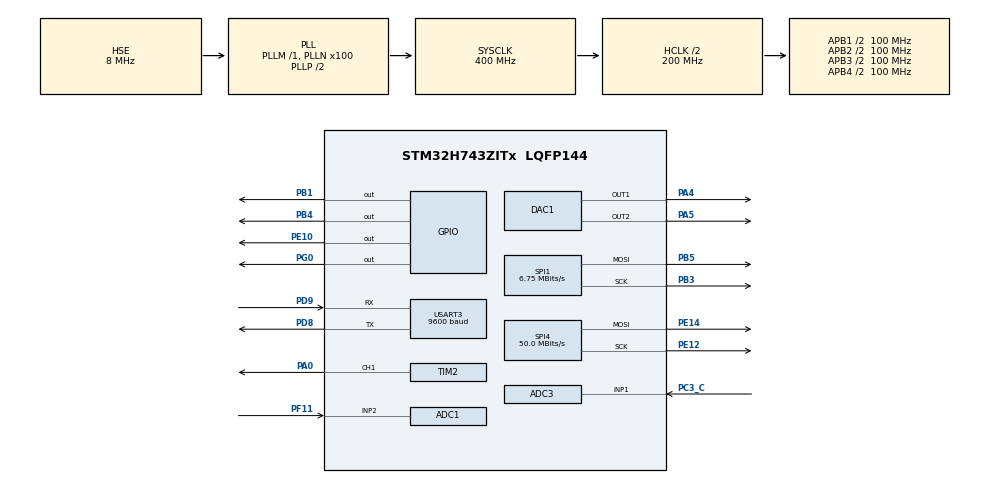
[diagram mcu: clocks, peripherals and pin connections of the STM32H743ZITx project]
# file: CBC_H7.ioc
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ADC1.BoostMode=DISABLE
ADC1.Channel-0\#ChannelRegularConversion=ADC_CHANNEL_2
ADC1.ClockPrescaler=ADC_CLOCK_ASYNC_DIV1
ADC1.ContinuousConvMode=ENABLE
ADC1.ConversionDataManagement=ADC_CONVERSIONDATA_DMA_CIRCULAR
ADC1.DiscontinuousConvMode=DISABLE
ADC1.EOCSelection=ADC_EOC_SINGLE_CONV
ADC1.EnableAnalogWatchDog1=false
ADC1.EnableAnalogWatchDog2=false
ADC1.EnableAnalogWatchDog3=false
ADC1.EnableInjectedConversion=DISABLE
ADC1.EnableRegularConversion=ENABLE
ADC1.ExternalTrigConv=ADC_SOFTWARE_START
ADC1.ExternalTrigConvEdge=ADC_EXTERNALTRIGCONVEDGE_NONE
ADC1.LeftBitShift=ADC_LEFTBITSHIFT_NONE
ADC1.LowPowerAutoWait=DISABLE
ADC1.NbrOfConversion=1
ADC1.NbrOfConversionFlag=1
ADC1.OffsetNumber-0\#ChannelRegularConversion=ADC_OFFSET_NONE
ADC1.Overrun=ADC_OVR_DATA_PRESERVED
ADC1.OversamplingMode=DISABLE
ADC1.Rank-0\#ChannelRegularConversion=1
ADC1.Resolution=ADC_RESOLUTION_16B
ADC1.SamplingTime-0\#ChannelRegularConversion=ADC_SAMPLETIME_1CYCLE_5
ADC1.ScanConvMode=ADC_SCAN_DISABLE
ADC1.master=1
ADC3.Channel-3\#ChannelRegularConversion=ADC_CHANNEL_1
ADC3.NbrOfConversionFlag=1
ADC3.OffsetNumber-3\#ChannelRegularConversion=ADC_OFFSET_NONE
ADC3.Rank-3\#ChannelRegularConversion=1
ADC3.SamplingTime-3\#ChannelRegularConversion=ADC_SAMPLETIME_1CYCLE_5
CORTEX_M7.CPU_DCache=Disabled
DAC1.DAC_Channel-DAC_OUT1=DAC_CHANNEL_1
DAC1.DAC_Channel-DAC_OUT2=DAC_CHANNEL_2
DAC1.DAC_Trigger-DAC_OUT1=DAC_TRIGGER_T2_TRGO
DAC1.DAC_Trigger-DAC_OUT2=DAC_TRIGGER_T2_TRGO
Dma.ADC1.0.Direction=DMA_PERIPH_TO_MEMORY
Dma.ADC1.0.EventEnable=DISABLE
Dma.ADC1.0.FIFOMode=DMA_FIFOMODE_DISABLE
Dma.ADC1.0.Instance=DMA1_Stream0
Dma.ADC1.0.MemDataAlignment=DMA_MDATAALIGN_WORD
Dma.ADC1.0.MemInc=DMA_MINC_ENABLE
Dma.ADC1.0.Mode=DMA_CIRCULAR
Dma.ADC1.0.PeriphDataAlignment=DMA_PDATAALIGN_WORD
Dma.ADC1.0.PeriphInc=DMA_PINC_DISABLE
Dma.ADC1.0.Polarity=HAL_DMAMUX_REQ_GEN_RISING
Dma.ADC1.0.Priority=DMA_PRIORITY_VERY_HIGH
Dma.ADC1.0.RequestNumber=1
Dma.ADC1.0.SignalID=NONE
Dma.ADC1.0.SyncEnable=DISABLE
Dma.ADC1.0.SyncPolarity=HAL_DMAMUX_SYNC_NO_EVENT
Dma.ADC1.0.SyncRequestNumber=1
Dma.ADC1.0.SyncSignalID=NONE
Dma.Request0=ADC1
Dma.Request1=USART3_RX
Dma.Request2=USART3_TX
Dma.USART3_RX.1.Direction=DMA_PERIPH_TO_MEMORY
Dma.USART3_RX.1.EventEnable=DISABLE
Dma.USART3_RX.1.FIFOMode=DMA_FIFOMODE_DISABLE
Dma.USART3_RX.1.Instance=DMA1_Stream1
Dma.USART3_RX.1.MemDataAlignment=DMA_MDATAALIGN_BYTE
Dma.USART3_RX.1.MemInc=DMA_MINC_ENABLE
Dma.USART3_RX.1.Mode=DMA_CIRCULAR
Dma.USART3_RX.1.PeriphDataAlignment=DMA_PDATAALIGN_BYTE
Dma.USART3_RX.1.PeriphInc=DMA_PINC_DISABLE
Dma.USART3_RX.1.Polarity=HAL_DMAMUX_REQ_GEN_RISING
Dma.USART3_RX.1.Priority=DMA_PRIORITY_LOW
Dma.USART3_RX.1.RequestNumber=1
Dma.USART3_RX.1.SignalID=NONE
Dma.USART3_RX.1.SyncEnable=DISABLE
Dma.USART3_RX.1.SyncPolarity=HAL_DMAMUX_SYNC_NO_EVENT
Dma.USART3_RX.1.SyncRequestNumber=1
Dma.USART3_RX.1.SyncSignalID=NONE
Dma.USART3_TX.2.Direction=DMA_MEMORY_TO_PERIPH
Dma.USART3_TX.2.EventEnable=DISABLE
Dma.USART3_TX.2.FIFOMode=DMA_FIFOMODE_DISABLE
Dma.USART3_TX.2.Instance=DMA1_Stream2
Dma.USART3_TX.2.MemDataAlignment=DMA_MDATAALIGN_BYTE
Dma.USART3_TX.2.MemInc=DMA_MINC_ENABLE
Dma.USART3_TX.2.Mode=DMA_NORMAL
Dma.USART3_TX.2.PeriphDataAlignment=DMA_PDATAALIGN_BYTE
Dma.USART3_TX.2.PeriphInc=DMA_PINC_DISABLE
Dma.USART3_TX.2.Polarity=HAL_DMAMUX_REQ_GEN_RISING
Dma.USART3_TX.2.Priority=DMA_PRIORITY_LOW
Dma.USART3_TX.2.RequestNumber=1
Dma.USART3_TX.2.SignalID=NONE
Dma.USART3_TX.2.SyncEnable=DISABLE
Dma.USART3_TX.2.SyncPolarity=HAL_DMAMUX_SYNC_NO_EVENT
Dma.USART3_TX.2.SyncRequestNumber=1
Dma.USART3_TX.2.SyncSignalID=NONE
Mcu.Family=STM32H7
Mcu.Name=STM32H743ZITx
Mcu.Package=LQFP144
NVIC.DMA1_Stream0_IRQn=true\:2\:0\:true\:false\:true\:false\:true
NVIC.DMA1_Stream1_IRQn=true\:0\:0\:false\:false\:true\:false\:true
NVIC.DMA1_Stream2_IRQn=true\:1\:0\:true\:false\:true\:false\:true
NVIC.PriorityGroup=NVIC_PRIORITYGROUP_4
NVIC.TIM2_IRQn=true\:1\:0\:true\:false\:true\:true\:true
NVIC.USART3_IRQn=true\:0\:0\:true\:false\:true\:true\:true
PA0.Signal=S_TIM2_CH1
PA13\ (JTMS/SWDIO).Mode=Serial_Wire
PA13\ (JTMS/SWDIO).Signal=DEBUG_JTMS-SWDIO
PA14\ (JTCK/SWCLK).Mode=Serial_Wire
PA14\ (JTCK/SWCLK).Signal=DEBUG_JTCK-SWCLK
PA4.Signal=COMP_DAC11_group
PA5.Signal=COMP_DAC12_group
PB1.GPIO_ModeDefaultOutputPP=GPIO_MODE_OUTPUT_PP
PB1.GPIO_PuPd=GPIO_PULLDOWN
PB1.GPIO_Speed=GPIO_SPEED_FREQ_VERY_HIGH
PB1.Signal=GPIO_Output
PB3\ (JTDO/TRACESWO).Mode=TX_Only_Simplex_Unidirect_Master
PB3\ (JTDO/TRACESWO).Signal=SPI1_SCK
PB4\ (NJTRST).GPIO_Speed=GPIO_SPEED_FREQ_HIGH
PB4\ (NJTRST).PinState=GPIO_PIN_SET
PB4\ (NJTRST).Signal=GPIO_Output
PB5.Mode=TX_Only_Simplex_Unidirect_Master
PB5.Signal=SPI1_MOSI
PC3_C.Mode=IN1-Single-Ended
PC3_C.Signal=ADC3_INP1
PD8.Mode=Asynchronous
PD8.Signal=USART3_TX
PD9.Mode=Asynchronous
PD9.Signal=USART3_RX
PE10.PinState=GPIO_PIN_SET
PE10.Signal=GPIO_Output
PE12.Mode=TX_Only_Simplex_Unidirect_Master
PE12.Signal=SPI4_SCK
PE14.Mode=TX_Only_Simplex_Unidirect_Master
PE14.Signal=SPI4_MOSI
PF11.Mode=IN2-Single-Ended
PF11.Signal=ADC1_INP2
PG0.Signal=GPIO_Output
PH0-OSC_IN\ (PH0).Mode=HSE-External-Oscillator
PH0-OSC_IN\ (PH0).Signal=RCC_OSC_IN
PH1-OSC_OUT\ (PH1).Mode=HSE-External-Oscillator
PH1-OSC_OUT\ (PH1).Signal=RCC_OSC_OUT
ProjectManager.HeapSize=0x3000
ProjectManager.StackSize=0x400
ProjectManager.TargetToolchain=TrueSTUDIO
RCC.ADCCLockSelection=RCC_ADCCLKSOURCE_PLL3
RCC.ADCFreq_Value=36000000
RCC.APB1Freq_Value=100000000
RCC.APB2Freq_Value=100000000
RCC.APB3Freq_Value=100000000
RCC.APB4Freq_Value=100000000
RCC.CortexFreq_Value=400000000
RCC.D1PPRE=RCC_APB3_DIV2
RCC.D2PPRE1=RCC_APB1_DIV2
RCC.D2PPRE2=RCC_APB2_DIV2
RCC.D3PPRE=RCC_APB4_DIV2
RCC.DIVM1=1
RCC.DIVM2=1
RCC.DIVM3=2
RCC.DIVN1=100
RCC.DIVN2=19
RCC.DIVN3=54
RCC.DIVR3=6
RCC.HCLKFreq_Value=200000000
RCC.HPRE=RCC_HCLK_DIV2
RCC.HSE_VALUE=8000000
RCC.PLLSourceVirtual=RCC_PLLSOURCE_HSE
RCC.PWR_Regulator_Voltage_Scale=PWR_REGULATOR_VOLTAGE_SCALE1
RCC.RCC_TIM_PRescaler_Selection=RCC_TIMPRES_ACTIVATED
RCC.SPI123CLockSelection=RCC_SPI123CLKSOURCE_PLL3
RCC.SYSCLKFreq_VALUE=400000000
RCC.SYSCLKSource=RCC_SYSCLKSOURCE_PLLCLK
RCC.USBFreq_Value=400000000
SH.COMP_DAC11_group.0=DAC1_OUT1,DAC_OUT1
SH.COMP_DAC12_group.0=DAC1_OUT2,DAC_OUT2
SH.S_TIM2_CH1.0=TIM2_CH1,PWM Generation1 CH1
SPI1.BaudRatePrescaler=SPI_BAUDRATEPRESCALER_16
SPI1.CalculateBaudRate=6.75 MBits/s
SPI1.DataSize=SPI_DATASIZE_16BIT
SPI1.Direction=SPI_DIRECTION_2LINES_TXONLY
SPI1.Mode=SPI_MODE_MASTER
SPI1.NSSPMode=SPI_NSS_PULSE_DISABLE
SPI1.VirtualType=VM_MASTER
SPI4.BaudRatePrescaler=SPI_BAUDRATEPRESCALER_2
SPI4.CLKPolarity=SPI_POLARITY_HIGH
SPI4.CalculateBaudRate=50.0 MBits/s
SPI4.Direction=SPI_DIRECTION_2LINES_TXONLY
SPI4.Mode=SPI_MODE_MASTER
SPI4.VirtualType=VM_MASTER
TIM2.Channel-PWM\ Generation1\ CH1=TIM_CHANNEL_1
TIM2.Pulse-PWM\ Generation1\ CH1=2
TIM2.TIM_MasterOutputTrigger=TIM_TRGO_UPDATE
USART3.BaudRate=9600
USART3.VirtualMode-Asynchronous=VM_ASYNC
VP_TIM2_VS_ClockSourceINT.Mode=Internal
board=custom

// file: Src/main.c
/* USER CODE BEGIN Header */
/**
  ******************************************************************************
  * @file           : main.c
  * @brief          : Main program body
  ******************************************************************************
  * @attention
  *
  * <h2><center>&copy; Copyright (c) 2021 STMicroelectronics.
  * All rights reserved.</center></h2>
  *
  * This software component is licensed by ST under BSD 3-Clause license,
  * the "License"; You may not use this file except in compliance with the
  * License. You may obtain a copy of the License at:
  *                        opensource.org/licenses/BSD-3-Clause
  *
  ******************************************************************************
  */
/* USER CODE END Header */
#include "main.h"
#include "adc.h"
#include "dac.h"
#include "dma.h"
#include "spi.h"
#include "tim.h"
#include "usart.h"
#include "gpio.h"

/* USER CODE BEGIN PV */
#define CTRLFREQUENCY 1e4
#define DAC_ALIGNMENT DAC_ALIGN_12B_R
#define hdac hdac1
#define TIM2PSC 0
uint32_t adc_value=0;
uint32_t dacvalue=0;
double volt_value=0;
uint32_t Tim2ARR;
uint32_t ADCBuf[2];
uint16_t  pData[1]={0x7530};  //3952
uint32_t   acValBuffer;
uint16_t DACoutput1;
uint16_t DACoutput2;
double paramFreq;
double   PT_Anf=0;
double   PT_End =0;
double   duration =0;
tPID* 		 pPID1       =   &InstancePID1;
tPID* 		 pPID2       =   &InstancePID2;
uint8_t PIDInputOption = 1;
double LockInOutput = 0.0;
double yout;
char charI[16];
/* USER CODE END PV */

void SystemClock_Config(void);
void PeriphCommonClock_Config(void);

/* USER CODE BEGIN 0 */
void HAL_TIM_PeriodElapsedCallback(TIM_HandleTypeDef *htim)
{
		PT_Anf =PT_End;
		adc_value =(float)ADCBuf[0];
		volt_value=3.3f*((float)(adc_value)/65536); // single ended mode
		PID_Calc(pPID1,PIDInputOption, volt_value,LockInOutput);
		DACoutput1 = (uint16_t)(InstancePID1.outvalue*VOLT2DIG12BIT);
		DACoutput2 = (uint16_t)(InstancePID1.outvalue*VOLT2DIG12BIT);
		HAL_GPIO_TogglePin(GPIOG,GPIO_PIN_0);
		//HAL_DAC_SetValue(&hdac, DAC_CHANNEL_1, DAC_ALIGNMENT, (uint32_t)DACoutput1);
		//HAL_DAC_SetValue(&hdac, DAC_CHANNEL_2, DAC_ALIGNMENT, (uint32_t)DACoutput1);
		//HAL_StatusTypeDef HAL_SPI_TransmitReceive(SPI_HandleTypeDef *hspi, uint8_t *pTxData, uint8_t *pRxData, uint16_t Size,
		HAL_GPIO_WritePin(GPIOB, GPIO_PIN_4, GPIO_PIN_RESET);

		//HAL_SPI_Transmit(&hspi1, (uint8_t *)pData, 1, 1);
		HAL_GPIO_WritePin(GPIOB, GPIO_PIN_4, GPIO_PIN_SET);
		PT_End =DWT->CYCCNT;
		duration = PT_End-PT_Anf;
        //HAL_GPIO_WritePin(GPIOB,GPIO_PIN_1, GPIO_PIN_RESET);
}
/* USER CODE END 0 */

int main(void)
{

  /* MCU Configuration--------------------------------------------------------*/

  /* Reset of all peripherals, Initializes the Flash interface and the Systick. */
  HAL_Init();

  /* Configure the system clock */
  SystemClock_Config();

/* Configure the peripherals common clocks */
  PeriphCommonClock_Config();

  /* Initialize all configured peripherals */
  MX_GPIO_Init();
  MX_DMA_Init();
  MX_DAC1_Init();
  MX_ADC1_Init();
  MX_USART3_UART_Init();
  MX_ADC3_Init();
  MX_TIM2_Init();
  MX_SPI1_Init();
  MX_SPI4_Init();
  /* USER CODE BEGIN 2 */
  CoreDebug->DEMCR |= CoreDebug_DEMCR_TRCENA_Msk;
  DWT->CTRL |= 1;
  Tim2ARR=200e6 / CTRLFREQUENCY-1;
  __HAL_TIM_SET_PRESCALER(&htim2, TIM2PSC);
  __HAL_TIM_SET_AUTORELOAD(&htim2,  Tim2ARR);
  paramFreq = CTRLFREQUENCY;
  PID_vInit(pPID1);
  /* USER CODE BEGIN 1 */
	 // HAL_TIM_PWM_Start(&htim4, TIM_CHANNEL_1);
  HAL_TIM_Base_Start_IT(&htim2);
  //HAL_TIM_PWM_Start(&htim2, TIM_CHANNEL_1);
	      /* Start DAC */
  HAL_ADC_Start_DMA(&hadc1,ADCBuf,2);
  //HAL_DAC_Start(&hdac, DAC_CHANNEL_2);
  //HAL_DAC_Start(&hdac, DAC_CHANNEL_1);
  //HAL_UART_Receive_DMA(&huart3,aRxBuffer,RXBUFFERSIZE);
 // HAL_SPI_Transmit_DMA(&hspi1, pData,2);
  /* USER CODE END 2 */

  /* Infinite loop */
  while (1)
  {

  }
}

void SystemClock_Config(void)
{
  RCC_OscInitTypeDef RCC_OscInitStruct = {0};
  RCC_ClkInitTypeDef RCC_ClkInitStruct = {0};

  /** Supply configuration update enable
  */
  HAL_PWREx_ConfigSupply(PWR_LDO_SUPPLY);
  /** Configure the main internal regulator output voltage
  */
  __HAL_PWR_VOLTAGESCALING_CONFIG(PWR_REGULATOR_VOLTAGE_SCALE1);

  while(!__HAL_PWR_GET_FLAG(PWR_FLAG_VOSRDY)) {}
  /** Macro to configure the PLL clock source
  */
  __HAL_RCC_PLL_PLLSOURCE_CONFIG(RCC_PLLSOURCE_HSE);
  /** Initializes the RCC Oscillators according to the specified parameters
  * in the RCC_OscInitTypeDef structure.
  */
  RCC_OscInitStruct.OscillatorType = RCC_OSCILLATORTYPE_HSE;
  RCC_OscInitStruct.HSEState = RCC_HSE_ON;
  RCC_OscInitStruct.PLL.PLLState = RCC_PLL_ON;
  RCC_OscInitStruct.PLL.PLLSource = RCC_PLLSOURCE_HSE;
  RCC_OscInitStruct.PLL.PLLM = 1;
  RCC_OscInitStruct.PLL.PLLN = 100;
  RCC_OscInitStruct.PLL.PLLP = 2;
  RCC_OscInitStruct.PLL.PLLQ = 2;
  RCC_OscInitStruct.PLL.PLLR = 2;
  RCC_OscInitStruct.PLL.PLLRGE = RCC_PLL1VCIRANGE_3;
  RCC_OscInitStruct.PLL.PLLVCOSEL = RCC_PLL1VCOWIDE;
  RCC_OscInitStruct.PLL.PLLFRACN = 0;
  if (HAL_RCC_OscConfig(&RCC_OscInitStruct) != HAL_OK)
  {
    Error_Handler();
  }
  /** Initializes the CPU, AHB and APB buses clocks
  */
  RCC_ClkInitStruct.ClockType = RCC_CLOCKTYPE_HCLK|RCC_CLOCKTYPE_SYSCLK
                              |RCC_CLOCKTYPE_PCLK1|RCC_CLOCKTYPE_PCLK2
                              |RCC_CLOCKTYPE_D3PCLK1|RCC_CLOCKTYPE_D1PCLK1;
  RCC_ClkInitStruct.SYSCLKSource = RCC_SYSCLKSOURCE_PLLCLK;
  RCC_ClkInitStruct.SYSCLKDivider = RCC_SYSCLK_DIV1;
  RCC_ClkInitStruct.AHBCLKDivider = RCC_HCLK_DIV2;
  RCC_ClkInitStruct.APB3CLKDivider = RCC_APB3_DIV2;
  RCC_ClkInitStruct.APB1CLKDivider = RCC_APB1_DIV2;
  RCC_ClkInitStruct.APB2CLKDivider = RCC_APB2_DIV2;
  RCC_ClkInitStruct.APB4CLKDivider = RCC_APB4_DIV2;

  if (HAL_RCC_ClockConfig(&RCC_ClkInitStruct, FLASH_LATENCY_2) != HAL_OK)
  {
    Error_Handler();
  }
}

void PeriphCommonClock_Config(void)
{
  RCC_PeriphCLKInitTypeDef PeriphClkInitStruct = {0};

  /** Initializes the peripherals clock
  */
  PeriphClkInitStruct.PeriphClockSelection = RCC_PERIPHCLK_ADC|RCC_PERIPHCLK_SPI1
                              |RCC_PERIPHCLK_TIM;
  PeriphClkInitStruct.PLL3.PLL3M = 2;
  PeriphClkInitStruct.PLL3.PLL3N = 54;
  PeriphClkInitStruct.PLL3.PLL3P = 2;
  PeriphClkInitStruct.PLL3.PLL3Q = 2;
  PeriphClkInitStruct.PLL3.PLL3R = 6;
  PeriphClkInitStruct.PLL3.PLL3RGE = RCC_PLL3VCIRANGE_2;
  PeriphClkInitStruct.PLL3.PLL3VCOSEL = RCC_PLL3VCOWIDE;
  PeriphClkInitStruct.PLL3.PLL3FRACN = 0;
  PeriphClkInitStruct.Spi123ClockSelection = RCC_SPI123CLKSOURCE_PLL3;
  PeriphClkInitStruct.AdcClockSelection = RCC_ADCCLKSOURCE_PLL3;
  PeriphClkInitStruct.TIMPresSelection = RCC_TIMPRES_ACTIVATED;

  if (HAL_RCCEx_PeriphCLKConfig(&PeriphClkInitStruct) != HAL_OK)
  {
    Error_Handler();
  }
}

/* USER CODE BEGIN 4 */
void HAL_TIM_IRQHandler1(TIM_HandleTypeDef *htim)
{

  /* TIM Update event */
  if(__HAL_TIM_GET_FLAG(htim, TIM_FLAG_UPDATE) != RESET)
  {
    if(__HAL_TIM_GET_IT_SOURCE(htim, TIM_IT_UPDATE) !=RESET)
    {
      __HAL_TIM_CLEAR_IT(htim, TIM_IT_UPDATE);
      HAL_TIM_PeriodElapsedCallback(htim);
    }
  }
}
/* USER CODE END 4 */

void Error_Handler(void)
{
  __disable_irq();
  while (1)
  {
  }
}

float PIDInputSWitch(uint8_t PIDInputOption, float ADCvalue,float LockIn)
{
	 float PIDInput;
	 if (PIDInputOption == 0)
			 {
	 	 	 	 PIDInput=LockIn;
			 }
	else
			{
				PIDInput =ADCvalue;
			}
	 return(PIDInput);
}
void PID_vInit(tPID* pPID)
{                                          ///< Zeiger auf Reglerstruktur
	pPID->_Ts 				= 		1/CTRLFREQUENCY;
	pPID-> _Kp				= 		0.2;
	pPID-> _Ki				= 		0;
	pPID-> _Kd				= 		0.5;
	pPID-> _max				= 		3;
	pPID-> _min				= 		-3;
	pPID-> _Kaw				= 		0.0;
	pPID-> _EnKc			= 		1;
	pPID-> _fc				= 		10;
    pPID-> _PIDHold			= 		0.0;
	pPID->error             =        0;
	pPID->error_1lag        =        0;
	pPID->error_2lag        =        0;
	pPID->error_AnWi        =        0;
	pPID->preout            =        0;
	pPID->_kt               =        -1;
	pPID->En                =        1.0;
	pPID->ref               =       0.0;
	pPID->a0                =        0.0;
	pPID->a1 				= 		0.0;
	pPID->a2      			= 		0.0;
	pPID->aw				=		0.0;
	pPID->omega 			=		0;
	pPID->a0 				= 		pPID-> _Kp+pPID-> _Kd/V2MUV/pPID->_Ts+pPID->_Ki*V2MV*pPID->_Ts;
	pPID->a1 				= 		-(pPID-> _Kp+pPID-> _Kd/V2MUV/pPID->_Ts*2.0);
	pPID->a2 				=		pPID->_Kd/V2MUV/pPID->_Ts;
	pPID->aw   				=		pPID->_Kaw*pPID->_Ts;
};
void PID_Calc(tPID* pPID,uint8_t PIDInputOption, double ADCvalue,double LockIn)
{
	double 			output;
	double 			outputsat;
	double          pd;
	pd          				= 	PIDInputSWitch(PIDInputOption, ADCvalue, LockIn);
	pPID->error = (pPID->ref - pd)*pPID->_kt;
	if (pPID->En>=1)
	{
		output = (pPID->preout+pPID->a0*pPID->error + pPID->a1*pPID->error_1lag + pPID->a2*pPID->error_2lag+pPID->aw*pPID->error_AnWi)/(1+pPID->omega*pPID->_Ts);
	}
	else
	{
		output = 0;
		pPID->error             =        0;
		pPID->error_1lag        =        0;
		pPID->error_2lag        =        0;
		pPID->preout            =        0;
	}
//	if( output > pPID->_max*3)
//		{
//		   output = 3*pPID->_max;
//		}
//	if( output < pPID->_min*3 )
//			{
//			   output = 3*pPID->_min;
//			}
	pPID->preout = output;
	    // Restrict to max/min
	if( output > pPID->_max )
	{
	   outputsat = pPID->_max;
	}
	else if( output < pPID->_min )
	{
	   outputsat = pPID->_min;
	}
	else
	{
	   outputsat = output;
	}
	pPID->error_AnWi              =   outputsat-output;
	    // Save error to previous error
	pPID->error_2lag = pPID->error_1lag;
	pPID->error_1lag = pPID->error;
//   tty3 =Kd/pPID->_Ts;
	pPID->outvalue= outputsat;
}
char decToHexa(int n)
{
    // char array to store hexadecimal number
    char hexaDeciNum[16];

    // counter for hexadecimal number array
    int i = 0;
    while (n != 0) {
        // temporary variable to store remainder
        int temp = 0;

        // storing remainder in temp variable.
        temp = n % 16;

        // check if temp < 10
        if (temp < 10) {
            hexaDeciNum[i] = temp + 48;
            i++;
        }
        else {
            hexaDeciNum[i] = temp + 55;
            i++;
        }

        n = n / 16;
    }

     return hexaDeciNum;
}
/************************ (C) COPYRIGHT STMicroelectronics *****END OF FILE****/
